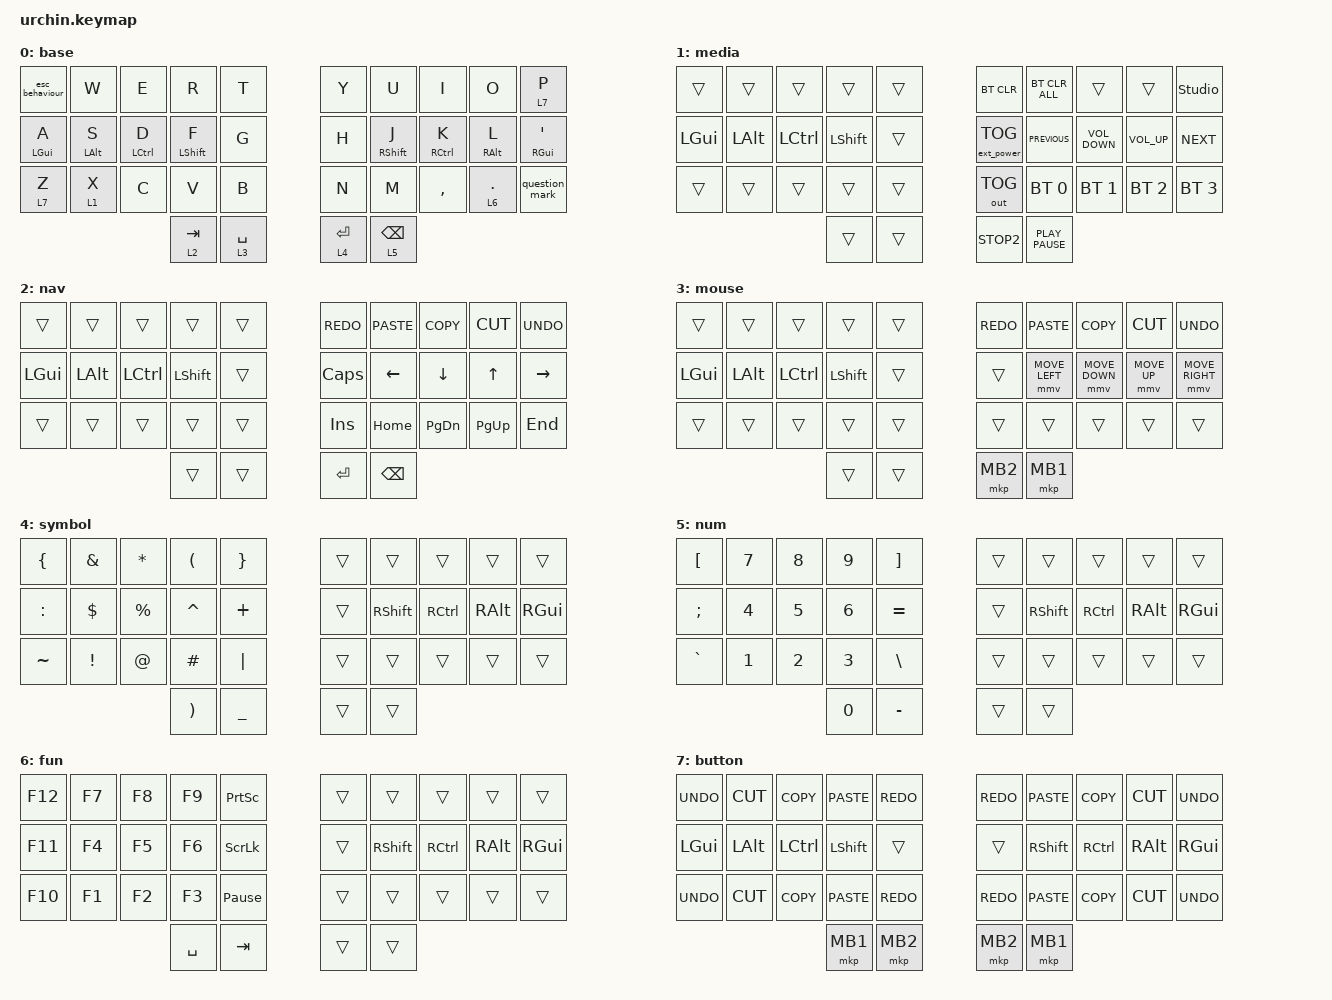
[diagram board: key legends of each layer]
/*
 * Copyright (c) 2020 duckyb
 *
 * SPDX-License-Identifier: MIT
 */

#include <behaviors.dtsi>
#include <dt-bindings/zmk/bt.h>
#include <dt-bindings/zmk/ext_power.h>
#include <dt-bindings/zmk/keys.h>
#include <dt-bindings/zmk/outputs.h>
#include <dt-bindings/zmk/pointing.h>

// Layer definitions

#define BASE 0
#define SYM 1
#define EXT 2
#define FNC 3
#define SYM2 4
#define ACCENT 5
#define SETTINGS 6

// -----------------

/ {
    behaviors {
        // Enables holding the first mod-tap key
        // by performing a tap-release-hold sequence.
        // To use it: "&qt KEYCODE1 KEYCODE2"

        question_mark: question_mark {
            compatible = "zmk,behavior-tap-dance";
            label = "QUESTION_MARK";
            #binding-cells = <0>;
            bindings = <&kp SLASH>, <&kp QUESTION>, <&kp COLON>;
        };

        hrm_a: hrm_a {
            compatible = "zmk,behavior-tap-dance";
            label = "HRM_A";
            #binding-cells = <0>;
            bindings = <&kp A>, <&kp LEFT_GUI>;
        };

        hrm_s: hrm_s {
            compatible = "zmk,behavior-tap-dance";
            label = "HRM_S";
            #binding-cells = <0>;
            bindings = <&kp S>, <&kp LEFT_ALT>;
        };

        hrm_d: hrm_d {
            compatible = "zmk,behavior-tap-dance";
            label = "HRM_D";
            #binding-cells = <0>;
            bindings = <&kp D>, <&kp LEFT_CONTROL>;
        };

        hrm_f: hrm_f {
            compatible = "zmk,behavior-tap-dance";
            label = "HRM_F";
            #binding-cells = <0>;
            bindings = <&kp F>, <&kp LEFT_SHIFT>;
        };

        hrm_j: hrm_j {
            compatible = "zmk,behavior-tap-dance";
            label = "HRM_J";
            #binding-cells = <0>;
            bindings = <&kp J>, <&kp RIGHT_SHIFT>;
        };

        hrm_k: hrm_k {
            compatible = "zmk,behavior-tap-dance";
            label = "HRM_K";
            #binding-cells = <0>;
            bindings = <&kp K>, <&kp RIGHT_CONTROL>;
        };

        hrm_l: hrm_l {
            compatible = "zmk,behavior-tap-dance";
            label = "HRM_L";
            #binding-cells = <0>;
            bindings = <&kp L>, <&kp RIGHT_ALT>;
        };

        hrm_apostrophe: hrm_apostrophe {
            compatible = "zmk,behavior-tap-dance";
            label = "HRM_APOSTROPHE";
            #binding-cells = <0>;
            bindings = <&kp APOSTROPHE>, <&kp DOUBLE_QUOTES>;
        };

        esc_behaviour: esc_behaviour {
            compatible = "zmk,behavior-tap-dance";
            label = "ESC_BEHAVIOUR";
            #binding-cells = <0>;
            bindings = <&kp Q>, <&kp ESCAPE>;
        };
    };

    macros {
        // sometimes my device thinks a modifier is being held down
        // pressing all modifiers fixes it.
    };

    combos {
        compatible = "zmk,combos";

        // both right thumb keys
        // internal-left & external-right thumb keys
        // both left thumb keys
        // left index & middle fingers (home-row)
        // hold control & space for Adobe workflow
    };

    keymap {
        compatible = "zmk,keymap";

        // Base alpha layer

        base {
            bindings = <
&esc_behaviour  &kp W           &kp E               &kp R             &kp T        &kp Y        &kp U              &kp I                &kp O            &lt 7 P
&mt LEFT_GUI A  &mt LEFT_ALT S  &mt LEFT_CONTROL D  &mt LEFT_SHIFT F  &kp G        &kp H        &mt RIGHT_SHIFT J  &mt RIGHT_CONTROL K  &mt RIGHT_ALT L  &mt RIGHT_GUI APOSTROPHE
&lt 7 Z         &lt 1 X         &kp C               &kp V             &kp B        &kp N        &kp M              &kp COMMA            &lt 6 PERIOD     &question_mark
                                                    &lt 2 TAB         &lt 3 SPACE  &lt 4 ENTER  &lt 5 BACKSPACE
            >;
        };

        media {
            bindings = <
&trans        &trans        &trans            &trans          &trans  &bt BT_CLR         &bt BT_CLR_ALL    &trans             &trans           &studio_unlock
&kp LEFT_GUI  &kp LEFT_ALT  &kp LEFT_CONTROL  &kp LEFT_SHIFT  &trans  &ext_power EP_TOG  &kp K_PREVIOUS    &kp K_VOLUME_DOWN  &kp K_VOLUME_UP  &kp K_NEXT
&trans        &trans        &trans            &trans          &trans  &out OUT_TOG       &bt BT_SEL 0      &bt BT_SEL 1       &bt BT_SEL 2     &bt BT_SEL 3
                                              &trans          &trans  &kp K_STOP2        &kp K_PLAY_PAUSE
            >;
        };

        nav {
            bindings = <
&trans        &trans        &trans            &trans          &trans  &kp K_REDO    &kp K_PASTE    &kp K_COPY     &kp K_CUT    &kp K_UNDO
&kp LEFT_GUI  &kp LEFT_ALT  &kp LEFT_CONTROL  &kp LEFT_SHIFT  &trans  &kp CAPSLOCK  &kp LEFT       &kp DOWN       &kp UP       &kp RIGHT
&trans        &trans        &trans            &trans          &trans  &kp INSERT    &kp HOME       &kp PAGE_DOWN  &kp PAGE_UP  &kp END
                                              &trans          &trans  &kp ENTER     &kp BACKSPACE
            >;
        };

        mouse {
            bindings = <
&trans        &trans        &trans            &trans          &trans  &kp K_REDO  &kp K_PASTE     &kp K_COPY      &kp K_CUT     &kp K_UNDO
&kp LEFT_GUI  &kp LEFT_ALT  &kp LEFT_CONTROL  &kp LEFT_SHIFT  &trans  &trans      &mmv MOVE_LEFT  &mmv MOVE_DOWN  &mmv MOVE_UP  &mmv MOVE_RIGHT
&trans        &trans        &trans            &trans          &trans  &trans      &trans          &trans          &trans        &trans
                                              &trans          &trans  &mkp MB2    &mkp MB1
            >;
        };

        symbol {
            bindings = <
&kp LEFT_BRACE  &kp AMPERSAND    &kp ASTERISK  &kp LEFT_PARENTHESIS   &kp RIGHT_BRACE  &trans  &trans           &trans             &trans         &trans
&kp COLON       &kp DOLLAR       &kp PERCENT   &kp CARET              &kp PLUS         &trans  &kp RIGHT_SHIFT  &kp RIGHT_CONTROL  &kp RIGHT_ALT  &kp RIGHT_GUI
&kp TILDE       &kp EXCLAMATION  &kp AT        &kp POUND              &kp PIPE         &trans  &trans           &trans             &trans         &trans
                                               &kp RIGHT_PARENTHESIS  &kp UNDERSCORE   &trans  &trans
            >;
        };

        num {
            bindings = <
&kp LEFT_BRACKET  &kp N7        &kp N8        &kp N9        &kp RIGHT_BRACKET  &trans  &trans           &trans             &trans         &trans
&kp SEMICOLON     &kp NUMBER_4  &kp N5        &kp NUMBER_6  &kp EQUAL          &trans  &kp RIGHT_SHIFT  &kp RIGHT_CONTROL  &kp RIGHT_ALT  &kp RIGHT_GUI
&kp GRAVE         &kp NUMBER_1  &kp NUMBER_2  &kp NUMBER_3  &kp BACKSLASH      &trans  &trans           &trans             &trans         &trans
                                              &kp N0        &kp MINUS          &trans  &trans
            >;
        };

        fun {
            bindings = <
&kp F12  &kp F7  &kp F8  &kp F9     &kp PRINTSCREEN  &trans  &trans           &trans             &trans         &trans
&kp F11  &kp F4  &kp F5  &kp F6     &kp SCROLLLOCK   &trans  &kp RIGHT_SHIFT  &kp RIGHT_CONTROL  &kp RIGHT_ALT  &kp RIGHT_GUI
&kp F10  &kp F1  &kp F2  &kp F3     &kp PAUSE_BREAK  &trans  &trans           &trans             &trans         &trans
                         &kp SPACE  &kp TAB          &trans  &trans
            >;
        };

        button {
            bindings = <
&kp K_UNDO    &kp K_CUT     &kp K_COPY        &kp K_PASTE     &kp K_REDO  &kp K_REDO  &kp K_PASTE      &kp K_COPY         &kp K_CUT      &kp K_UNDO
&kp LEFT_GUI  &kp LEFT_ALT  &kp LEFT_CONTROL  &kp LEFT_SHIFT  &trans      &trans      &kp RIGHT_SHIFT  &kp RIGHT_CONTROL  &kp RIGHT_ALT  &kp RIGHT_GUI
&kp K_UNDO    &kp K_CUT     &kp K_COPY        &kp K_PASTE     &kp K_REDO  &kp K_REDO  &kp K_PASTE      &kp K_COPY         &kp K_CUT      &kp K_UNDO
                                              &mkp MB1        &mkp MB2    &mkp MB2    &mkp MB1
            >;
        };

        // Numbers and high frequency symbols
        // Main modifiers and arrow keys
        // Function keys with modifiers
        // Low frequency symbols.
        // Used to type regional accents.
        // Used to change the keyboard's settings.media {};
    };

    conditional_layers { compatible = "zmk,conditional-layers"; };
};
